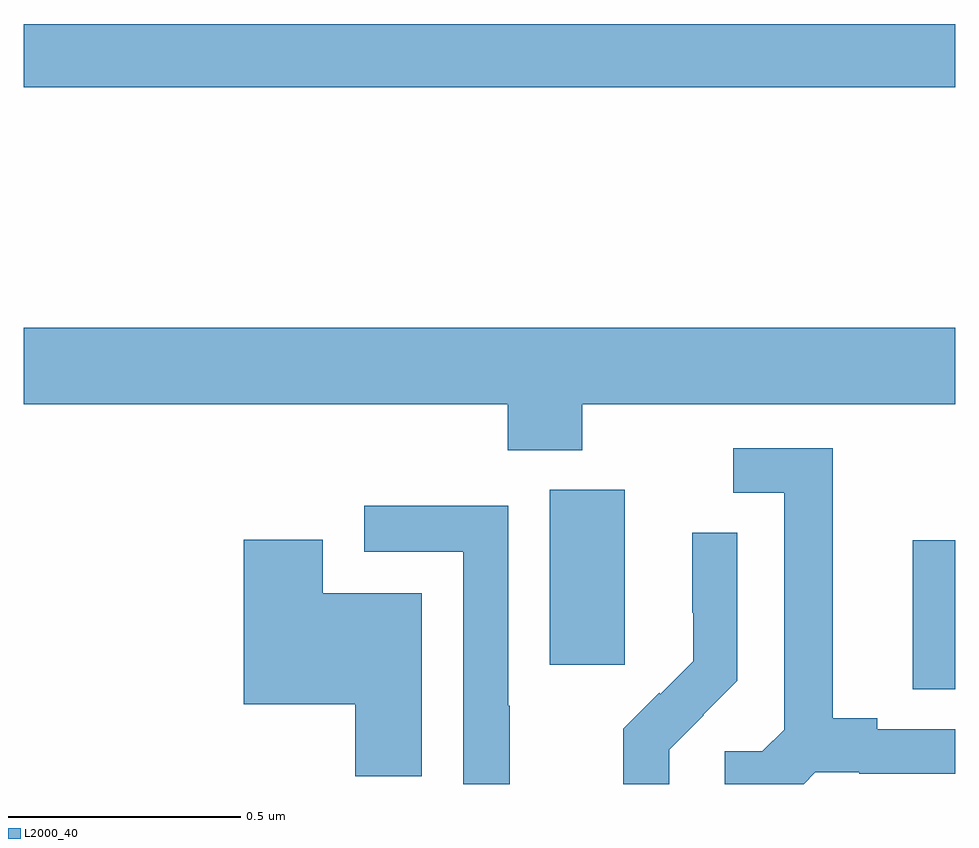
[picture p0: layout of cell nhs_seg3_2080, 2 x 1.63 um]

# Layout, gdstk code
import gdstk
lib = gdstk.Library(unit=1e-6, precision=1e-09)
def R(c, l, rs):  # rectangles x0, y0, x1, y1
    for r in rs: c.add(gdstk.rectangle(r[:2], r[2:], *l))
def P(c, l, *ps):  # polygons
    for p in ps: c.add(gdstk.Polygon(p, *l))
L2000_40 = (2000, 40)

nhs_seg3_2080 = lib.new_cell('nhs_seg3_2080')
R(nhs_seg3_2080, L2000_40, [(137.909,733.603,138,733.923), (137.129,733.656,137.29,734.032), (136,734.896,138,735.032)])
P(nhs_seg3_2080, L2000_40, [(137.199,734.216),(138,734.216),(138,734.38),(136,734.38),(136,734.216),(137.039,734.216),(137.039,734.117),(137.199,734.117)],
  [(137.7,733.425),(137.794,733.425),(137.794,733.422),(138,733.422),(138,733.518),(137.833,733.518),(137.833,733.541),(137.737,733.541),(137.737,734.121),(137.523,734.121),(137.523,734.025),(137.633,734.025),(137.633,733.517),(137.586,733.47),(137.505,733.47),(137.505,733.4),(137.675,733.4)],
  [(137.043,733.568),(137.04,733.568),(137.04,733.998),(136.731,733.998),(136.731,733.899),(136.944,733.899),(136.944,733.4),(137.043,733.4)],
  [(137.386,733.474),(137.46,733.548),(137.459,733.549),(137.532,733.622),(137.532,733.94),(137.435,733.94),(137.435,733.768),(137.438,733.768),(137.438,733.664),(137.367,733.593),(137.364,733.596),(137.287,733.519),(137.287,733.4),(137.386,733.4)],
  [(136.855,733.81),(136.642,733.81),(136.642,733.924),(136.472,733.924),(136.472,733.571),(136.712,733.571),(136.712,733.417),(136.855,733.417)])

lib.write_gds('nhs_seg3_2080.gds')
